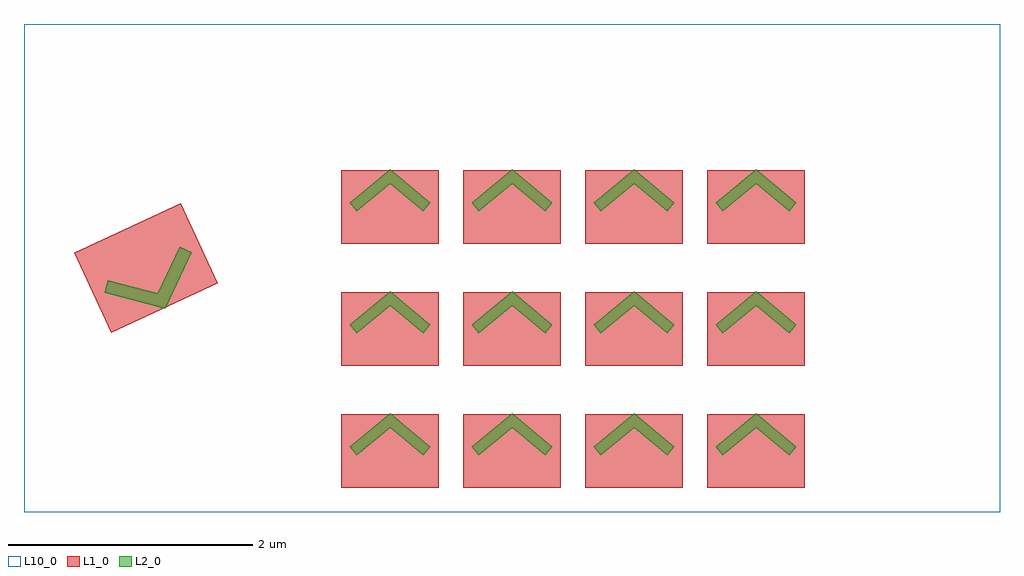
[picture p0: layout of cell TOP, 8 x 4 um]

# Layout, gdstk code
from math import pi, radians
import gdstk
lib = gdstk.Library(unit=1e-6, precision=1e-09)
def R(c, l, rs):  # rectangles x0, y0, x1, y1
    for r in rs: c.add(gdstk.rectangle(r[:2], r[2:], *l))
L1_0 = (1, 0)
L2_0 = (2, 0)
L10_0 = (10, 0)

leaf = lib.new_cell('LEAF')
R(leaf, L1_0, [(-0.4,-0.3,0.4,0.3)])
leaf.add(gdstk.FlexPath([(-0.3,0),(0,0.25),(0.3,0)], 0.09, ends="flush", simple_path=True, layer=2, datatype=0))  # L2_0
leaf.add(gdstk.Label('LEAF', (0,0), layer=3, texttype=0))

top = lib.new_cell('TOP')
R(top, L10_0, [(-1,-2,7,2)])
top.add(gdstk.Reference(leaf, (0,0), rotation=radians(25), magnification=1.2, x_reflection=True))
r = gdstk.Reference(leaf, (2,-1.5)); r.repetition = gdstk.Repetition(4, 3, v1=(1,0), v2=(0,1)); top.add(r)

lib.write_gds('TOP.gds')
